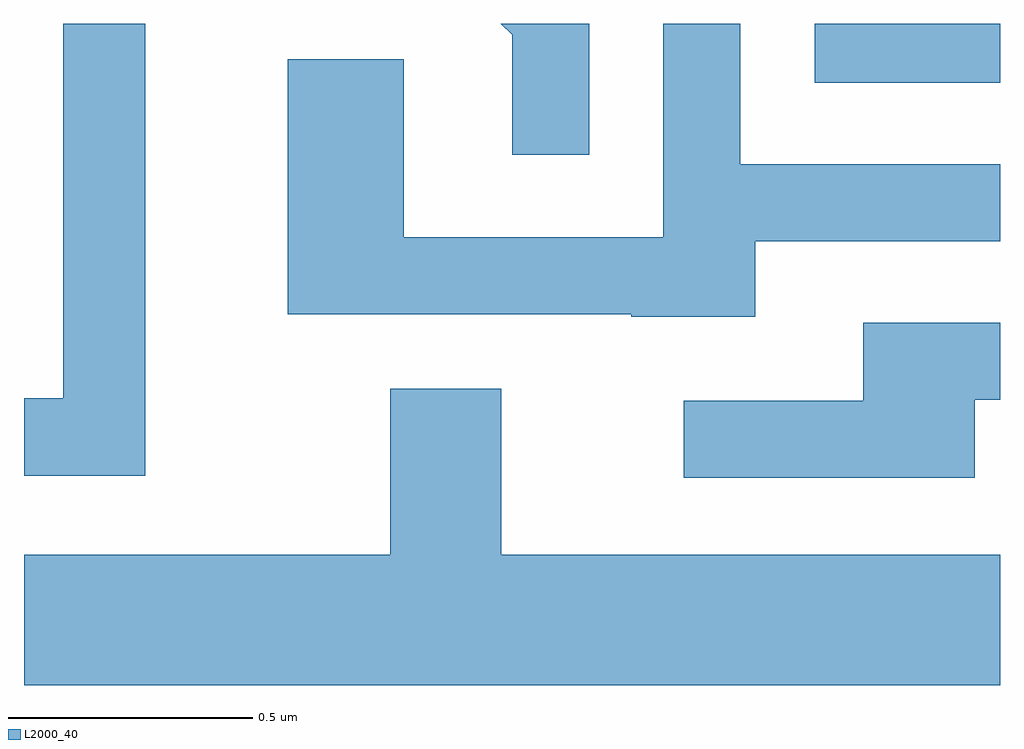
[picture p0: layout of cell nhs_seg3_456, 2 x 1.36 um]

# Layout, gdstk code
import gdstk
lib = gdstk.Library(unit=1e-6, precision=1e-09)
def R(c, l, rs):  # rectangles x0, y0, x1, y1
    for r in rs: c.add(gdstk.rectangle(r[:2], r[2:], *l))
def P(c, l, *ps):  # polygons
    for p in ps: c.add(gdstk.Polygon(p, *l))
L2000_40 = (2000, 40)

nhs_seg3_456 = lib.new_cell('nhs_seg3_456')
R(nhs_seg3_456, L2000_40, [(190.231,1162.771,190.611,1162.892)])
P(nhs_seg3_456, L2000_40, [(190.109,1162.446),(190.611,1162.446),(190.611,1162.604),(190.079,1162.604),(190.079,1162.892),(189.921,1162.892),(189.921,1162.454),(189.389,1162.454),(189.389,1162.819),(189.151,1162.819),(189.151,1162.296),(189.855,1162.296),(189.855,1162.291),(190.109,1162.291)],
  [(188.859,1162.892),(188.691,1162.892),(188.691,1162.124),(188.611,1162.124),(188.611,1161.966),(188.859,1161.966)],
  [(189.769,1162.892),(189.588,1162.892),(189.611,1162.869),(189.611,1162.623),(189.769,1162.623)],
  [(190.559,1162.121),(190.611,1162.121),(190.611,1162.279),(190.331,1162.279),(190.331,1162.119),(189.963,1162.119),(189.963,1161.961),(190.559,1161.961)],
  [(190.611,1161.804),(189.589,1161.804),(189.589,1162.144),(189.361,1162.144),(189.361,1161.804),(188.611,1161.804),(188.611,1161.536),(190.611,1161.536)])

lib.write_gds('nhs_seg3_456.gds')
